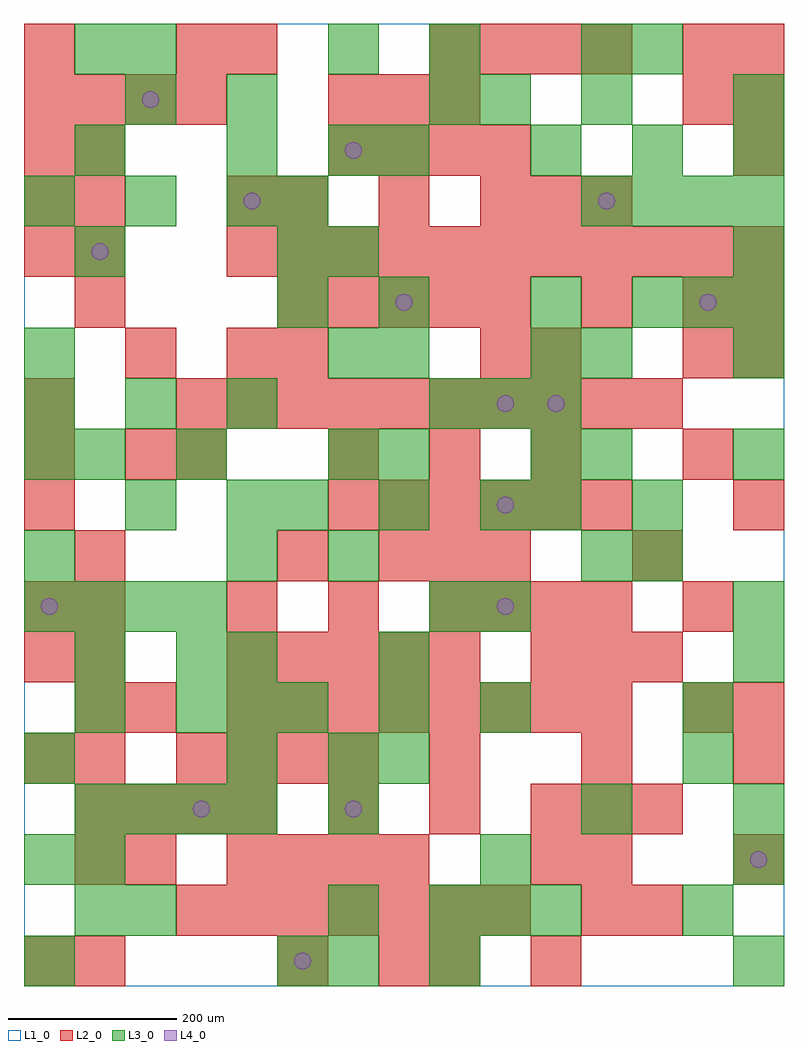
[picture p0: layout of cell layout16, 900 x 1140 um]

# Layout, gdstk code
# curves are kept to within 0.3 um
import gdstk
lib = gdstk.Library(unit=1e-6, precision=1e-09)
def R(c, l, rs):  # rectangles x0, y0, x1, y1
    for r in rs: c.add(gdstk.rectangle(r[:2], r[2:], *l))
def A(c, l, x, y, w, h, nx, ny, dx, dy):  # array of equal rectangles
    R(c, l, [(x+i*dx, y+j*dy, x+i*dx+w, y+j*dy+h) for i in range(nx) for j in range(ny)])
def P(c, l, *ps):  # polygons
    for p in ps: c.add(gdstk.Polygon(p, *l))
L1_0 = (1, 0)
L2_0 = (2, 0)
L3_0 = (3, 0)
L4_0 = (4, 0)

layout16 = lib.new_cell('layout16')
R(layout16, L1_0, [(0,0,900,1140)])
A(layout16, L2_0, 60, 0, 60, 60, 1, 3, 0, 120)
A(layout16, L2_0, 180, 60, 60, 60, 7, 1, 60, 0)
A(layout16, L2_0, 660, 60, 60, 60, 1, 3, 0, 60)
A(layout16, L2_0, 240, 120, 60, 60, 4, 1, 60, 0)
A(layout16, L2_0, 60, 180, 60, 60, 4, 1, 60, 0)
A(layout16, L2_0, 360, 180, 60, 60, 3, 2, 120, 420)
A(layout16, L2_0, 180, 240, 60, 60, 4, 1, 60, 0)
A(layout16, L2_0, 480, 240, 60, 60, 3, 1, 180, 0)
A(layout16, L2_0, 60, 300, 60, 60, 1, 4, 0, 60)
A(layout16, L2_0, 240, 300, 60, 60, 8, 1, 60, 0)
A(layout16, L2_0, 240, 360, 60, 60, 5, 1, 60, 0)
A(layout16, L2_0, 600, 360, 60, 60, 3, 1, 60, 0)
A(layout16, L2_0, 240, 420, 60, 60, 3, 1, 120, 0)
A(layout16, L2_0, 540, 420, 60, 60, 3, 1, 60, 0)
A(layout16, L2_0, 420, 480, 60, 60, 3, 1, 60, 0)
A(layout16, L2_0, 0, 540, 60, 60, 1, 3, 0, 60)
A(layout16, L2_0, 360, 540, 60, 60, 6, 1, 60, 0)
A(layout16, L2_0, 180, 660, 60, 60, 10, 1, 60, 0)
A(layout16, L2_0, 240, 720, 60, 60, 1, 3, 0, 180)
A(layout16, L2_0, 60, 780, 60, 60, 1, 4, 0, 60)
A(layout16, L2_0, 300, 780, 60, 60, 5, 1, 60, 0)
A(layout16, L2_0, 0, 840, 60, 60, 1, 3, 0, 60)
A(layout16, L2_0, 240, 840, 60, 60, 11, 1, 60, 0)
A(layout16, L2_0, 300, 900, 60, 60, 3, 1, 120, 0)
A(layout16, L2_0, 360, 960, 60, 60, 4, 1, 60, 0)
A(layout16, L2_0, 840, 960, 60, 60, 1, 3, 0, 60)
A(layout16, L2_0, 0, 1020, 60, 60, 4, 1, 60, 0)
A(layout16, L2_0, 360, 1020, 60, 60, 3, 1, 60, 0)
A(layout16, L2_0, 480, 1080, 60, 60, 4, 1, 60, 0)
R(layout16, L2_0, [(0,0,60,60), (300,0,360,60), (420,0,480,60), (480,0,540,60), (600,0,660,60), (720,60,780,120), (120,120,180,180), (600,120,660,180), (840,120,900,180), (720,180,780,240), (0,240,60,300), (120,300,180,360), (780,300,840,360), (840,300,900,360), (0,360,60,420), (0,420,60,480), (780,420,840,480), (300,480,360,540), (720,480,780,540), (840,540,900,600), (120,600,180,660), (180,600,240,660), (780,600,840,660), (120,720,180,780), (300,720,360,780), (540,720,600,780), (600,720,660,780), (780,720,840,780), (840,720,900,780), (660,780,720,840), (780,780,840,840), (840,780,900,840), (600,900,660,960), (660,900,720,960), (780,1020,840,1080), (0,1080,60,1140), (180,1080,240,1140), (780,1080,840,1140)])
A(layout16, L3_0, 0, 0, 60, 60, 1, 3, 0, 120)
A(layout16, L3_0, 120, 60, 60, 60, 1, 3, 0, 480)
A(layout16, L3_0, 480, 60, 60, 60, 3, 2, 60, 600)
A(layout16, L3_0, 60, 180, 60, 60, 4, 1, 60, 0)
A(layout16, L3_0, 240, 240, 60, 60, 1, 3, 0, 120)
A(layout16, L3_0, 420, 240, 60, 60, 1, 3, 0, 60)
A(layout16, L3_0, 180, 300, 60, 60, 3, 1, 60, 0)
A(layout16, L3_0, 60, 360, 60, 60, 1, 3, 0, 240)
A(layout16, L3_0, 0, 420, 60, 60, 4, 1, 60, 0)
A(layout16, L3_0, 0, 480, 60, 60, 1, 3, 0, 120)
A(layout16, L3_0, 360, 480, 60, 60, 1, 6, 0, 120)
A(layout16, L3_0, 660, 480, 60, 60, 1, 3, 0, 120)
A(layout16, L3_0, 300, 540, 60, 60, 3, 1, 120, 0)
A(layout16, L3_0, 840, 600, 60, 60, 1, 3, 0, 120)
A(layout16, L3_0, 0, 660, 60, 60, 3, 2, 120, 240)
A(layout16, L3_0, 300, 780, 60, 60, 1, 3, 0, 60)
A(layout16, L3_0, 720, 780, 60, 60, 3, 1, 60, 0)
A(layout16, L3_0, 660, 900, 60, 60, 4, 1, 60, 0)
A(layout16, L3_0, 600, 960, 60, 60, 3, 1, 120, 0)
R(layout16, L3_0, [(300,0,360,60), (360,0,420,60), (480,0,540,60), (840,0,900,60), (60,60,120,120), (360,60,420,120), (780,60,840,120), (60,120,120,180), (540,120,600,180), (840,120,900,180), (360,180,420,240), (660,180,720,240), (840,180,900,240), (360,240,420,300), (780,240,840,300), (60,300,120,360), (540,300,600,360), (780,300,840,360), (180,360,240,420), (840,360,900,420), (480,420,540,480), (540,420,600,480), (840,420,900,480), (720,480,780,540), (240,540,300,600), (600,540,660,600), (720,540,780,600), (180,600,240,660), (420,600,480,660), (600,600,660,660), (420,720,480,780), (600,720,660,780), (420,780,480,840), (600,780,660,840), (60,960,120,1020), (240,960,300,1020), (420,960,480,1020), (240,1020,300,1080), (480,1020,540,1080), (540,1020,600,1080), (660,1020,720,1080), (840,1020,900,1080), (60,1080,120,1140), (120,1080,180,1140), (480,1080,540,1140), (660,1080,720,1140), (720,1080,780,1140)])
P(layout16, L4_0, [(40,450),(39.239,453.827),(37.071,457.071),(33.827,459.239),(30,460),(26.173,459.239),(22.929,457.071),(20.761,453.827),(20,450),(20.761,446.173),(22.929,442.929),(26.173,440.761),(30,440),(33.827,440.761),(37.071,442.929),(39.239,446.173)],
  [(100,870),(99.239,873.827),(97.071,877.071),(93.827,879.239),(90,880),(86.173,879.239),(82.929,877.071),(80.761,873.827),(80,870),(80.761,866.173),(82.929,862.929),(86.173,860.761),(90,860),(93.827,860.761),(97.071,862.929),(99.239,866.173)],
  [(160,1050),(159.239,1053.827),(157.071,1057.071),(153.827,1059.239),(150,1060),(146.173,1059.239),(142.929,1057.071),(140.761,1053.827),(140,1050),(140.761,1046.173),(142.929,1042.929),(146.173,1040.761),(150,1040),(153.827,1040.761),(157.071,1042.929),(159.239,1046.173)],
  [(220,210),(219.239,213.827),(217.071,217.071),(213.827,219.239),(210,220),(206.173,219.239),(202.929,217.071),(200.761,213.827),(200,210),(200.761,206.173),(202.929,202.929),(206.173,200.761),(210,200),(213.827,200.761),(217.071,202.929),(219.239,206.173)],
  [(280,930),(279.239,933.827),(277.071,937.071),(273.827,939.239),(270,940),(266.173,939.239),(262.929,937.071),(260.761,933.827),(260,930),(260.761,926.173),(262.929,922.929),(266.173,920.761),(270,920),(273.827,920.761),(277.071,922.929),(279.239,926.173)],
  [(340,30),(339.239,33.827),(337.071,37.071),(333.827,39.239),(330,40),(326.173,39.239),(322.929,37.071),(320.761,33.827),(320,30),(320.761,26.173),(322.929,22.929),(326.173,20.761),(330,20),(333.827,20.761),(337.071,22.929),(339.239,26.173)],
  [(400,210),(399.239,213.827),(397.071,217.071),(393.827,219.239),(390,220),(386.173,219.239),(382.929,217.071),(380.761,213.827),(380,210),(380.761,206.173),(382.929,202.929),(386.173,200.761),(390,200),(393.827,200.761),(397.071,202.929),(399.239,206.173)],
  [(400,990),(399.239,993.827),(397.071,997.071),(393.827,999.239),(390,1000),(386.173,999.239),(382.929,997.071),(380.761,993.827),(380,990),(380.761,986.173),(382.929,982.929),(386.173,980.761),(390,980),(393.827,980.761),(397.071,982.929),(399.239,986.173)],
  [(460,810),(459.239,813.827),(457.071,817.071),(453.827,819.239),(450,820),(446.173,819.239),(442.929,817.071),(440.761,813.827),(440,810),(440.761,806.173),(442.929,802.929),(446.173,800.761),(450,800),(453.827,800.761),(457.071,802.929),(459.239,806.173)],
  [(580,450),(579.239,453.827),(577.071,457.071),(573.827,459.239),(570,460),(566.173,459.239),(562.929,457.071),(560.761,453.827),(560,450),(560.761,446.173),(562.929,442.929),(566.173,440.761),(570,440),(573.827,440.761),(577.071,442.929),(579.239,446.173)],
  [(580,570),(579.239,573.827),(577.071,577.071),(573.827,579.239),(570,580),(566.173,579.239),(562.929,577.071),(560.761,573.827),(560,570),(560.761,566.173),(562.929,562.929),(566.173,560.761),(570,560),(573.827,560.761),(577.071,562.929),(579.239,566.173)],
  [(580,690),(579.239,693.827),(577.071,697.071),(573.827,699.239),(570,700),(566.173,699.239),(562.929,697.071),(560.761,693.827),(560,690),(560.761,686.173),(562.929,682.929),(566.173,680.761),(570,680),(573.827,680.761),(577.071,682.929),(579.239,686.173)],
  [(640,690),(639.239,693.827),(637.071,697.071),(633.827,699.239),(630,700),(626.173,699.239),(622.929,697.071),(620.761,693.827),(620,690),(620.761,686.173),(622.929,682.929),(626.173,680.761),(630,680),(633.827,680.761),(637.071,682.929),(639.239,686.173)],
  [(700,930),(699.239,933.827),(697.071,937.071),(693.827,939.239),(690,940),(686.173,939.239),(682.929,937.071),(680.761,933.827),(680,930),(680.761,926.173),(682.929,922.929),(686.173,920.761),(690,920),(693.827,920.761),(697.071,922.929),(699.239,926.173)],
  [(820,810),(819.239,813.827),(817.071,817.071),(813.827,819.239),(810,820),(806.173,819.239),(802.929,817.071),(800.761,813.827),(800,810),(800.761,806.173),(802.929,802.929),(806.173,800.761),(810,800),(813.827,800.761),(817.071,802.929),(819.239,806.173)],
  [(880,150),(879.239,153.827),(877.071,157.071),(873.827,159.239),(870,160),(866.173,159.239),(862.929,157.071),(860.761,153.827),(860,150),(860.761,146.173),(862.929,142.929),(866.173,140.761),(870,140),(873.827,140.761),(877.071,142.929),(879.239,146.173)])

lib.write_gds('layout16.gds')
